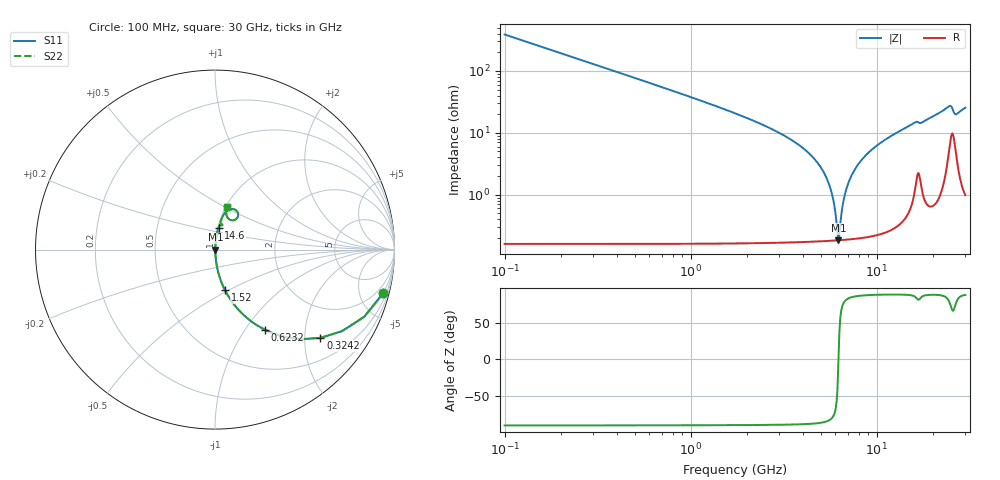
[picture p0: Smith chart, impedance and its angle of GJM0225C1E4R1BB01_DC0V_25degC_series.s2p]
!Murata Part Number: GJM0225C1E4R1BB01
!These Parameters are Measured in Series Mode Connection
!  o--ll--o
!Port1  Port2
!  o------o
!Operation Temp=25[degC], DC Bias Voltage=0[V]
!Freq. Start=100[MHz] Stop=30[GHz], 401[Steps]
!Data Generated on Feb 1, 2023
# Hz S RI R 50
!Freq.(Hz) S11(Real) S11(Imag) S21(Real) S21(Imag) S12(Real) S12(Imag) S22(Real) S22(Imag)
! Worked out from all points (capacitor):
!   401 points, 100 MHz to 30 GHz, reference 50 ohm
!   read as one part in series: C = 4.1 pF near 249.5 MHz
!   lowest |Z| = 184 mohm at 6.229 GHz (marker M1)
!   series resonance near 6.236 GHz, so ESL is about 160 pH
!   S11 on the Smith chart (normalised r, x): 100 MHz: 1.00, -7.76; 324.2 MHz: 1.00, -2.39; 623.2 MHz: 1.00, -1.23; 1.52 GHz: 1.00, -0.48; 14.6 GHz: 1.01, +0.25; 30 GHz: 1.02, +0.51
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1e8  0.9376 -0.2416  0.0624 0.2416  0.0624 0.2416  0.9376 -0.2416
3.2425e8  0.5876 -0.4916  0.4124 0.4916  0.4124 0.4916  0.5876 -0.4916
6.2325e8  0.276 -0.4457  0.724 0.4457  0.724 0.4457  0.276 -0.4457
9.97e8  0.1269 -0.3307  0.8731 0.3307  0.8731 0.3307  0.1269 -0.3307
1.52025e9  0.0559 -0.2264  0.9441 0.2264  0.9441 0.2264  0.0559 -0.2264
4.1365e9  0.00447 -0.0523  0.9955 0.0523  0.9955 0.0523  0.00447 -0.0523
5.10825e9  0.00239 -0.025  0.9976 0.025  0.9976 0.025  0.00239 -0.025
5.70625e9  0.00192 -0.0111  0.9981 0.0111  0.9981 0.0111  0.00192 -0.0111
6.15475e9  0.00183 -0.00164  0.9982 0.00164  0.9982 0.00164  0.00183 -0.00164
6.2295e9  0.00183 -0.000138  0.9982 0.000138  0.9982 0.000138  0.00183 -0.000138
6.379e9  0.00185 0.00282  0.9982 -0.00282  0.9982 -0.00282  0.00185 0.00282
6.60325e9  0.0019 0.00712  0.9981 -0.00712  0.9981 -0.00712  0.0019 0.00712
6.75275e9  0.00196 0.00992  0.998 -0.00992  0.998 -0.00992  0.00196 0.00992
7.35075e9  0.00233 0.0206  0.9977 -0.0206  0.9977 -0.0206  0.00233 0.0206
8.472e9  0.00352 0.0388  0.9965 -0.0388  0.9965 -0.0388  0.00352 0.0388
1.01165e10  0.0062 0.0629  0.9938 -0.0629  0.9938 -0.0629  0.0062 0.0629
1.46015e10  0.0197 0.1215  0.9803 -0.1215  0.9803 -0.1215  0.0197 0.1215
1.505e10  0.0221 0.1273  0.9779 -0.1273  0.9779 -0.1273  0.0221 0.1273
2.005825e10  0.0386 0.1756  0.9614 -0.1756  0.9614 -0.1756  0.0386 0.1756
2.50665e10  0.1258 0.2081  0.8742 -0.2081  0.8742 -0.2081  0.1258 0.2081
2.648675e10  0.0827 0.1668  0.9173 -0.1668  0.9173 -0.1668  0.0827 0.1668
3e10  0.0689 0.2347  0.9311 -0.2347  0.9311 -0.2347  0.0689 0.2347
